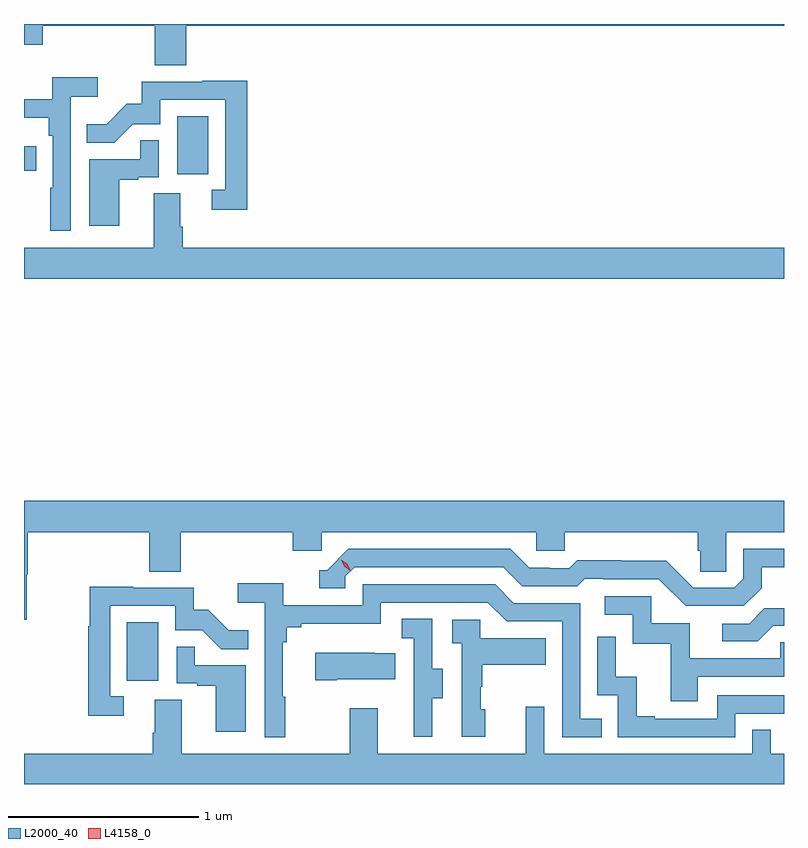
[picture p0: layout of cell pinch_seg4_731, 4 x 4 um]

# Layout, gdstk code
import gdstk
lib = gdstk.Library(unit=1e-6, precision=1e-09)
def R(c, l, rs):  # rectangles x0, y0, x1, y1
    for r in rs: c.add(gdstk.rectangle(r[:2], r[2:], *l))
def P(c, l, *ps):  # polygons
    for p in ps: c.add(gdstk.Polygon(p, *l))
L2000_40 = (2000, 40)
L4158_0 = (4158, 0)

pinch_seg4_731 = lib.new_cell('pinch_seg4_731')
R(pinch_seg4_731, L2000_40, [(885.71,822.678,885.874,822.985), (885.974,825.342,886.138,825.649), (885.168,825.361,885.233,825.49)])
P(pinch_seg4_731, L2000_40, [(886.022,826.124),(889.168,826.124),(889.168,826.134),(885.168,826.134),(885.168,826.026),(885.266,826.026),(885.266,826.124),(885.857,826.124),(885.857,825.916),(886.022,825.916)],
  [(885.414,825.752),(885.556,825.752),(885.556,825.854),(885.317,825.854),(885.317,825.738),(885.168,825.738),(885.168,825.641),(885.298,825.641),(885.298,825.545),(885.318,825.545),(885.318,825.272),(885.306,825.272),(885.306,825.045),(885.414,825.045)],
  [(886.343,825.836),(886.105,825.836),(886.105,825.831),(885.787,825.831),(885.787,825.714),(885.71,825.714),(885.603,825.607),(885.499,825.607),(885.499,825.508),(885.643,825.508),(885.741,825.606),(885.885,825.606),(885.885,825.735),(886.227,825.735),(886.227,825.261),(886.155,825.261),(886.155,825.156),(886.343,825.156)],
  [(885.67,825.315),(885.77,825.315),(885.77,825.327),(885.876,825.327),(885.876,825.521),(885.781,825.521),(885.781,825.423),(885.512,825.423),(885.512,825.072),(885.67,825.072)],
  [(889.168,824.956),(886.004,824.956),(886.004,825.068),(885.991,825.068),(885.991,825.242),(885.851,825.242),(885.851,824.956),(885.168,824.956),(885.168,824.792),(889.168,824.792)],
  [(885.183,823.238),(885.188,823.238),(885.188,823.46),(885.827,823.46),(885.827,823.252),(885.992,823.252),(885.992,823.46),(886.583,823.46),(886.583,823.362),(886.734,823.362),(886.734,823.46),(887.865,823.46),(887.865,823.362),(888.015,823.362),(888.015,823.46),(888.713,823.46),(888.713,823.362),(888.727,823.362),(888.727,823.252),(888.864,823.252),(888.864,823.46),(889.168,823.46),(889.168,823.624),(885.168,823.624),(885.168,822.999),(885.183,822.999)],
  [(889.051,823.165),(889.051,823.275),(889.168,823.275),(889.168,823.371),(888.954,823.371),(888.954,823.215),(888.906,823.167),(888.69,823.167),(888.548,823.309),(888.312,823.309),(888.312,823.312),(888.079,823.312),(888.037,823.269),(887.934,823.269),(887.934,823.272),(887.827,823.272),(887.728,823.371),(886.875,823.371),(886.764,823.26),(886.721,823.26),(886.721,823.164),(886.86,823.164),(886.86,823.227),(886.908,823.275),(887.691,823.275),(887.79,823.176),(888.079,823.176),(888.118,823.215),(888.217,823.215),(888.217,823.212),(888.51,823.212),(888.651,823.071),(888.957,823.071)],
  [(886.543,822.593),(886.531,822.593),(886.531,822.881),(886.55,822.881),(886.55,822.958),(886.627,822.958),(886.627,822.977),(887.046,822.977),(887.046,823.089),(887.61,823.089),(887.709,822.99),(888,822.99),(888,822.381),(888.209,822.381),(888.209,822.477),(888.096,822.477),(888.096,823.086),(887.746,823.086),(887.647,823.185),(886.95,823.185),(886.95,823.074),(886.532,823.074),(886.532,823.19),(886.293,823.19),(886.293,823.088),(886.434,823.088),(886.434,822.381),(886.543,822.381)],
  [(885.694,822.597),(885.621,822.597),(885.621,823.071),(885.963,823.071),(885.963,822.942),(886.107,822.942),(886.205,822.844),(886.349,822.844),(886.349,822.943),(886.245,822.943),(886.138,823.05),(886.062,823.05),(886.062,823.167),(885.743,823.167),(885.743,823.172),(885.513,823.172),(885.513,822.964),(885.505,822.964),(885.505,822.492),(885.694,822.492)],
  [(888.715,822.699),(889.168,822.699),(889.168,822.879),(889.147,822.879),(889.147,822.795),(888.673,822.795),(888.673,822.981),(888.468,822.981),(888.468,823.122),(888.225,823.122),(888.225,823.026),(888.372,823.026),(888.372,822.873),(888.571,822.873),(888.571,822.57),(888.715,822.57)],
  [(889.111,822.966),(889.168,822.966),(889.168,823.058),(889.064,823.058),(888.984,822.978),(888.843,822.978),(888.843,822.885),(889.03,822.885)],
  [(887.317,822.586),(887.371,822.586),(887.371,822.741),(887.316,822.741),(887.316,823.004),(887.157,823.004),(887.157,822.901),(887.22,822.901),(887.22,822.597),(887.219,822.597),(887.219,822.384),(887.317,822.384)],
  [(887.596,822.528),(887.571,822.528),(887.571,822.647),(887.581,822.647),(887.581,822.761),(887.915,822.761),(887.915,822.901),(887.568,822.901),(887.568,822.999),(887.421,822.999),(887.421,822.875),(887.472,822.875),(887.472,822.384),(887.596,822.384)],
  [(888.912,822.504),(889.168,822.504),(889.168,822.6),(888.816,822.6),(888.816,822.477),(888.487,822.477),(888.487,822.49),(888.392,822.49),(888.392,822.698),(888.282,822.698),(888.282,822.91),(888.186,822.91),(888.186,822.6),(888.294,822.6),(888.294,822.381),(888.912,822.381)],
  [(886.336,822.759),(886.067,822.759),(886.067,822.857),(885.972,822.857),(885.972,822.663),(886.079,822.663),(886.079,822.651),(886.178,822.651),(886.178,822.408),(886.336,822.408)],
  [(886.813,822.686),(887.123,822.686),(887.123,822.823),(887.015,822.823),(887.015,822.826),(886.701,822.826),(886.701,822.679),(886.813,822.679)],
  [(889.168,822.292),(889.098,822.292),(889.098,822.419),(889.002,822.419),(889.002,822.292),(887.907,822.292),(887.907,822.541),(887.81,822.541),(887.81,822.292),(887.029,822.292),(887.029,822.532),(886.882,822.532),(886.882,822.292),(885.997,822.292),(885.997,822.578),(885.857,822.578),(885.857,822.404),(885.845,822.404),(885.845,822.292),(885.168,822.292),(885.168,822.134),(889.168,822.134)])
P(pinch_seg4_731, L4158_0, [(886.883,823.26),(886.853,823.28),(886.837,823.313),(886.837,823.313),(886.837,823.313),(886.868,823.293),(886.884,823.261),(886.884,823.26)])

lib.write_gds('pinch_seg4_731.gds')
